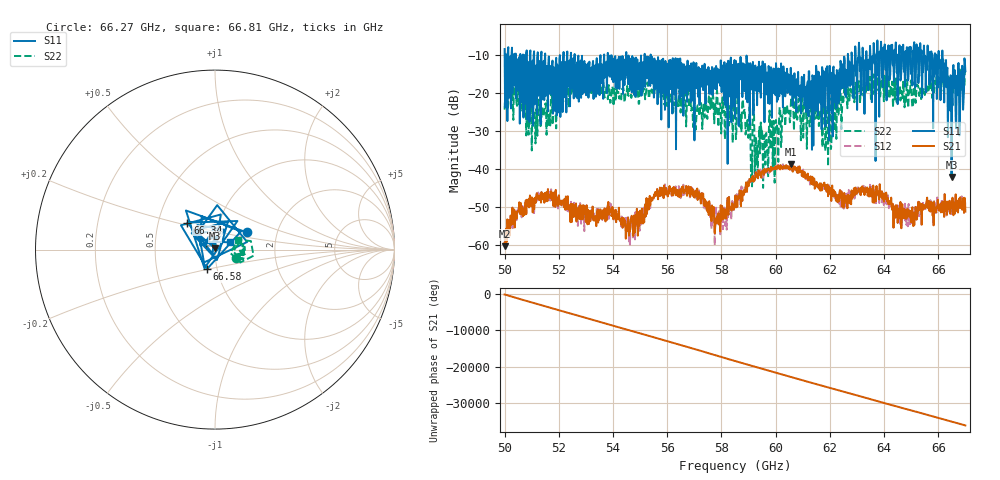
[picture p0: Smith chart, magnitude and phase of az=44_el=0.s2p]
!Created with skrf (http://scikit-rf.org).
# GHz S RI R 50.0
!freq ReS11 ImS11 ReS21 ImS21 ReS12 ImS12 ReS22 ImS22
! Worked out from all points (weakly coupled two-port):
!   1001 points, 50 GHz to 67 GHz, reference 50 ohm
!   highest |S21| = -38.68 dB at 60.56 GHz (marker M1); lowest = -60.3 dB at 50.02 GHz (marker M2)
!   lowest |S11| = -42.1 dB at 66.49 GHz (marker M3), VSWR 1.02, Z = 50 + j0.785 ohm
!   |S11| at or under -10 dB: 52.58 GHz to 53.67 GHz (1.087 GHz wide, 2.05 % of centre); 55.39 GHz to 62.66 GHz (7.275 GHz wide, 12.3 % of centre); 66.16 GHz to end of sweep (the widest 3 of 61)
!   |S22| runs from -44.9 to -13.2 dB; largest |S21 - S12| = 0.0022
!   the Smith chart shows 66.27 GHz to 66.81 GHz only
!   S11 on the Smith chart (normalised r, x): 66.27 GHz: 1.40, +0.28; 66.34 GHz: 0.70, +0.22; 66.58 GHz: 0.90, -0.20; 66.81 GHz: 1.18, +0.10
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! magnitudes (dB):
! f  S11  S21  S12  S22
! 50 GHz  -8.4  -59.4  -58.0  -24.4
! 50.02 GHz  -23.8  -60.3  -60.2  -21.0
! 51.24 GHz  -20.7  -46.9  -46.2  -23.3
! 52.84 GHz  -12.5  -49.8  -50.5  -19.8
! 54.67 GHz  -13.7  -52.6  -54.2  -21.3
! 55.68 GHz  -13.5  -46.2  -46.3  -21.2
! 57.23 GHz  -15.8  -47.7  -47.9  -23.4
! 57.79 GHz  -14.2  -53.7  -51.6  -25.5
! 58.5 GHz  -26.7  -48.6  -49.2  -24.2
! 59.62 GHz  -13.4  -40.7  -40.6  -38.8
! 60.56 GHz  -13.4  -38.7  -39.8  -23.1
! 61.34 GHz  -34.9  -42.6  -43.0  -26.8
! 62 GHz  -12.9  -45.4  -46.1  -23.9
! 62.55 GHz  -11.3  -48.1  -48.4  -18.6
! 64.18 GHz  -12.0  -48.4  -50.3  -17.4
! 65.56 GHz  -11.2  -48.9  -49.0  -19.7
! 66.27 GHz  -13.9  -48.4  -50.0  -17.9
! 66.34 GHz  -13.4  -48.6  -50.3  -17.4
! 66.49 GHz  -42.1  -50.1  -51.8  -15.4
! 66.58 GHz  -18.7  -49.0  -48.9  -15.7
! 66.81 GHz  -20.6  -47.4  -47.1  -17.0
! 67 GHz  -14.3  -51.2  -48.0  -14.4
